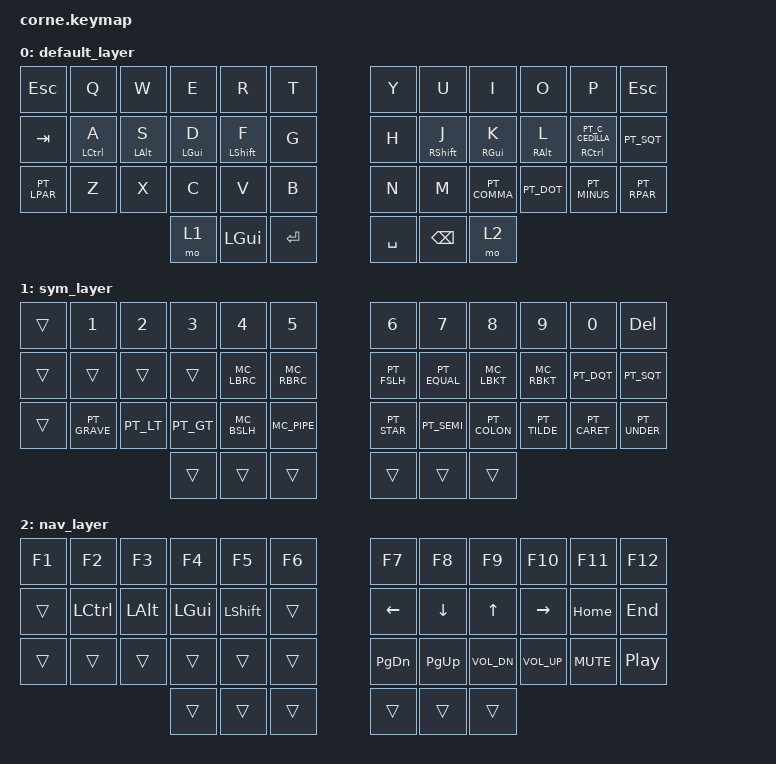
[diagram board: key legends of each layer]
#include <behaviors.dtsi>
#include <dt-bindings/zmk/keys.h>
#include <dt-bindings/zmk/bt.h>
#include "keys_pt.h"

// =====================================================================================
// MAC PORTUGUESE-PC BRACKET OVERRIDES
// =====================================================================================
#define MC_LBRC (LA(N8))          // {
#define MC_RBRC (LA(N9))          // }
#define MC_LBKT (LA(LS(N8)))      // [
#define MC_RBKT (LA(LS(N9)))      // ]
#define MC_PIPE (LA(N7))          // |
#define MC_BSLH (LA(LS(N7)))      // \

/ {
    behaviors {
        hm: homerow_mods {
            compatible = "zmk,behavior-hold-tap";
            label = "HOMEROW_MODS";
            #binding-cells = <2>;
            tapping-term-ms = <250>;
            quick-tap-ms = <175>;
            flavor = "tap-preferred";
            bindings = <&kp>, <&kp>;
        };
    };

    keymap {
        compatible = "zmk,keymap";

        default_layer {
            bindings = <
&kp ESC      &kp Q        &kp W        &kp E        &kp R          &kp T           &kp Y           &kp U          &kp I        &kp O        &kp P          &kp ESC
&kp TAB      &hm LCTRL A  &hm LALT S   &hm LGUI D   &hm LSHIFT F   &kp G           &kp H           &hm RSHIFT J   &hm RGUI K   &hm RALT L   &hm RCTRL PT_C_CEDILLA &kp PT_SQT
&kp PT_LPAR  &kp Z        &kp X        &kp C        &kp V          &kp B           &kp N           &kp M          &kp PT_COMMA &kp PT_DOT   &kp PT_MINUS   &kp PT_RPAR
                                       &mo 1        &kp LGUI       &kp RET         &kp SPACE       &kp BSPC       &mo 2
            >;
        };

        sym_layer {
            bindings = <
&trans       &kp N1       &kp N2       &kp N3       &kp N4       &kp N5         &kp N6       &kp N7       &kp N8       &kp N9       &kp N0       &kp DEL
&trans       &trans       &trans       &trans       &kp MC_LBRC  &kp MC_RBRC    &kp PT_FSLH  &kp PT_EQUAL &kp MC_LBKT  &kp MC_RBKT  &kp PT_DQT   &kp PT_SQT
&trans       &kp PT_GRAVE &kp PT_LT    &kp PT_GT    &kp MC_BSLH  &kp MC_PIPE    &kp PT_STAR  &kp PT_SEMI  &kp PT_COLON &kp PT_TILDE &kp PT_CARET &kp PT_UNDER
                                       &trans       &trans       &trans         &trans       &trans       &trans
            >;
        };

        nav_layer {
            bindings = <
&kp F1     &kp F2       &kp F3       &kp F4       &kp F5       &kp F6           &kp F7       &kp F8       &kp F9       &kp F10      &kp F11      &kp F12
&trans     &kp LCTRL    &kp LALT     &kp LGUI     &kp LSHIFT   &trans           &kp LEFT     &kp DOWN     &kp UP       &kp RIGHT    &kp HOME     &kp END
&trans     &trans       &trans       &trans       &trans       &trans           &kp PG_DN    &kp PG_UP    &kp C_VOL_DN &kp C_VOL_UP &kp C_MUTE   &kp C_PP
                                     &trans       &trans       &trans           &trans       &trans       &trans
            >;
        };
    };
};
